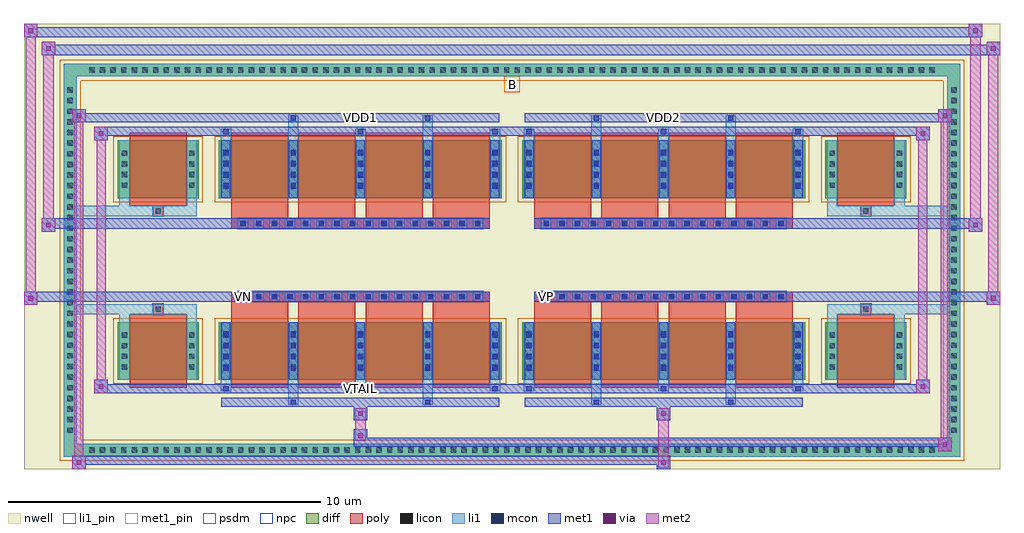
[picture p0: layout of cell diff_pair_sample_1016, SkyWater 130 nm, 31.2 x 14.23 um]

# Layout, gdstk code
import gdstk
lib = gdstk.Library(unit=1e-6, precision=5e-09)
def R(c, l, rs):  # rectangles x0, y0, x1, y1
    for r in rs: c.add(gdstk.rectangle(r[:2], r[2:], *l))
def A(c, l, x, y, w, h, nx, ny, dx, dy):  # array of equal rectangles
    R(c, l, [(x+i*dx, y+j*dy, x+i*dx+w, y+j*dy+h) for i in range(nx) for j in range(ny)])
def P(c, l, *ps):  # polygons
    for p in ps: c.add(gdstk.Polygon(p, *l))
nwell = (64, 20)
diff = (65, 20)
poly = (66, 20)
licon = (66, 44)
li1_pin = (67, 16)
li1 = (67, 20)
mcon = (67, 44)
met1_pin = (68, 16)
met1 = (68, 20)
via = (68, 44)
met2 = (69, 20)
psdm = (94, 20)
npc = (95, 20)

diff_pair_sample_1016 = lib.new_cell('diff_pair_sample_1016')
R(diff_pair_sample_1016, nwell, [(-15.6,-6.68,15.6,7.55), (-12.92,-4.87,-0.01,-0.805), (0.01,-4.87,12.92,-0.805), (-12.92,0.805,-0.01,4.87), (0.01,0.805,12.92,4.87)])
A(diff_pair_sample_1016, diff, -13.635, -6.28, 0.41, 0.41, 80, 2, 0.34, 12.15)
A(diff_pair_sample_1016, diff, -14.33, -5.645, 0.41, 0.41, 1, 33, 0, 0.34)
A(diff_pair_sample_1016, diff, 13.92, -5.645, 0.41, 0.41, 1, 33, 0, 0.34)
R(diff_pair_sample_1016, diff, [(-13.635,-6.28,13.635,-5.87), (-14.33,-5.645,-13.92,5.645), (13.92,-5.645,14.33,5.645), (-12.61,-3.825,-10.01,-1.985), (-9.37,-3.825,-0.32,-1.985), (0.32,-3.825,9.37,-1.985), (10.01,-3.825,12.61,-1.985), (-12.61,1.985,-10.01,3.825), (-9.37,1.985,-0.32,3.825), (0.32,1.985,9.37,3.825), (10.01,1.985,12.61,3.825), (-13.635,5.87,13.635,6.28)])
P(diff_pair_sample_1016, diff, [(14.33,6.28),(-14.33,6.28),(-14.33,-5.87),(-13.92,-5.87),(-13.92,5.87),(13.92,5.87),(13.92,-5.87),(-13.92,-5.87),(-14.33,-5.87),(-14.33,-6.28),(14.33,-6.28)])
A(diff_pair_sample_1016, poly, -8.98, -4.075, 1.82, 2.34, 4, 2, 2.15, 5.81)
A(diff_pair_sample_1016, poly, 0.71, -4.075, 1.82, 2.34, 4, 2, 2.15, 5.81)
A(diff_pair_sample_1016, poly, -8.98, -1.735, 1.82, 0.4, 4, 2, 2.15, 3.07)
A(diff_pair_sample_1016, poly, 0.71, -1.735, 1.82, 0.4, 4, 2, 2.15, 3.07)
A(diff_pair_sample_1016, poly, -8.76, -1.335, 0.33, 0.33, 16, 2, 0.5, 2.34)
A(diff_pair_sample_1016, poly, 0.93, -1.335, 0.33, 0.33, 16, 2, 0.5, 2.34)
R(diff_pair_sample_1016, poly, [(-12.22,-4.075,-10.4,-1.735), (10.4,-4.075,12.22,-1.735), (-11.475,-1.735,-11.145,-1.405), (-11.475,-1.735,-11.145,-1.405), (11.145,-1.735,11.475,-1.405), (11.145,-1.735,11.475,-1.405), (-8.98,-1.335,-0.71,-1.005), (0.71,-1.335,8.98,-1.005), (-8.98,1.005,-0.71,1.335), (0.71,1.005,8.98,1.335), (-11.475,1.405,-11.145,1.735), (-11.475,1.405,-11.145,1.735), (11.145,1.405,11.475,1.735), (11.145,1.405,11.475,1.735), (-12.22,1.735,-10.4,4.075), (10.4,1.735,12.22,4.075)])
A(diff_pair_sample_1016, licon, -13.515, -6.16, 0.17, 0.17, 80, 2, 0.34, 12.15)
A(diff_pair_sample_1016, licon, -14.21, -5.525, 0.17, 0.17, 1, 33, 0, 0.34)
A(diff_pair_sample_1016, licon, 14.04, -5.525, 0.17, 0.17, 1, 33, 0, 0.34)
A(diff_pair_sample_1016, licon, -12.47, -3.5, 0.17, 0.17, 1, 4, 0, 0.34)
A(diff_pair_sample_1016, licon, -10.32, -3.5, 0.17, 0.17, 1, 4, 0, 0.34)
A(diff_pair_sample_1016, licon, -9.23, -3.5, 0.17, 0.17, 5, 4, 2.15, 0.34)
A(diff_pair_sample_1016, licon, 0.46, -3.5, 0.17, 0.17, 5, 4, 2.15, 0.34)
A(diff_pair_sample_1016, licon, 10.15, -3.5, 0.17, 0.17, 1, 4, 0, 0.34)
A(diff_pair_sample_1016, licon, 12.3, -3.5, 0.17, 0.17, 1, 4, 0, 0.34)
A(diff_pair_sample_1016, licon, -8.68, -1.255, 0.17, 0.17, 16, 2, 0.5, 2.34)
A(diff_pair_sample_1016, licon, 1.01, -1.255, 0.17, 0.17, 16, 2, 0.5, 2.34)
A(diff_pair_sample_1016, licon, -12.47, 2.31, 0.17, 0.17, 1, 4, 0, 0.34)
A(diff_pair_sample_1016, licon, -10.32, 2.31, 0.17, 0.17, 1, 4, 0, 0.34)
A(diff_pair_sample_1016, licon, -9.23, 2.31, 0.17, 0.17, 5, 4, 2.15, 0.34)
A(diff_pair_sample_1016, licon, 0.46, 2.31, 0.17, 0.17, 5, 4, 2.15, 0.34)
A(diff_pair_sample_1016, licon, 10.15, 2.31, 0.17, 0.17, 1, 4, 0, 0.34)
A(diff_pair_sample_1016, licon, 12.3, 2.31, 0.17, 0.17, 1, 4, 0, 0.34)
R(diff_pair_sample_1016, licon, [(-11.395,-1.655,-11.225,-1.485), (11.225,-1.655,11.395,-1.485), (-11.395,1.485,-11.225,1.655), (11.225,1.485,11.395,1.655)])
R(diff_pair_sample_1016, li1_pin, [(-0.25,5.37,0.25,5.87)])
A(diff_pair_sample_1016, li1, -13.595, -6.24, 0.33, 0.33, 80, 2, 0.34, 12.15)
A(diff_pair_sample_1016, li1, -14.29, -5.605, 0.33, 0.33, 1, 33, 0, 0.34)
A(diff_pair_sample_1016, li1, 13.96, -5.605, 0.33, 0.33, 1, 33, 0, 0.34)
A(diff_pair_sample_1016, li1, -9.31, -4.2, 0.33, 0.375, 3, 2, 4.3, 8.025)
A(diff_pair_sample_1016, li1, -9.23, -4.2, 0.17, 0.17, 3, 2, 4.3, 8.23)
A(diff_pair_sample_1016, li1, 0.38, -4.2, 0.33, 0.375, 3, 2, 4.3, 8.025)
A(diff_pair_sample_1016, li1, 0.46, -4.2, 0.17, 0.17, 3, 2, 4.3, 8.23)
A(diff_pair_sample_1016, li1, -9.31, -3.825, 0.33, 1.84, 5, 2, 2.15, 5.81)
A(diff_pair_sample_1016, li1, 0.38, -3.825, 0.33, 1.84, 5, 2, 2.15, 5.81)
A(diff_pair_sample_1016, li1, -12.55, -3.58, 0.33, 0.33, 1, 4, 0, 0.34)
A(diff_pair_sample_1016, li1, -10.4, -3.58, 0.33, 0.33, 1, 4, 0, 0.34)
A(diff_pair_sample_1016, li1, -9.31, -3.58, 0.33, 0.33, 5, 4, 2.15, 0.34)
A(diff_pair_sample_1016, li1, 0.38, -3.58, 0.33, 0.33, 5, 4, 2.15, 0.34)
A(diff_pair_sample_1016, li1, 10.07, -3.58, 0.33, 0.33, 1, 4, 0, 0.34)
A(diff_pair_sample_1016, li1, 12.22, -3.58, 0.33, 0.33, 1, 4, 0, 0.34)
A(diff_pair_sample_1016, li1, -9.23, -3.53, 0.17, 0.17, 5, 4, 2.15, 0.36)
A(diff_pair_sample_1016, li1, -9.23, -3.53, 0.17, 1.25, 5, 2, 2.15, 5.81)
A(diff_pair_sample_1016, li1, 0.46, -3.53, 0.17, 0.17, 5, 4, 2.15, 0.36)
A(diff_pair_sample_1016, li1, 0.46, -3.53, 0.17, 1.25, 5, 2, 2.15, 5.81)
A(diff_pair_sample_1016, li1, -8.76, -1.335, 0.33, 0.33, 16, 2, 0.5, 2.34)
A(diff_pair_sample_1016, li1, 0.93, -1.335, 0.33, 0.33, 16, 2, 0.5, 2.34)
A(diff_pair_sample_1016, li1, -12.55, 2.23, 0.33, 0.33, 1, 4, 0, 0.34)
A(diff_pair_sample_1016, li1, -10.4, 2.23, 0.33, 0.33, 1, 4, 0, 0.34)
A(diff_pair_sample_1016, li1, -9.31, 2.23, 0.33, 0.33, 5, 4, 2.15, 0.34)
A(diff_pair_sample_1016, li1, 0.38, 2.23, 0.33, 0.33, 5, 4, 2.15, 0.34)
A(diff_pair_sample_1016, li1, 10.07, 2.23, 0.33, 0.33, 1, 4, 0, 0.34)
A(diff_pair_sample_1016, li1, 12.22, 2.23, 0.33, 0.33, 1, 4, 0, 0.34)
A(diff_pair_sample_1016, li1, -9.23, 2.28, 0.17, 0.17, 5, 4, 2.15, 0.36)
A(diff_pair_sample_1016, li1, 0.46, 2.28, 0.17, 0.17, 5, 4, 2.15, 0.36)
R(diff_pair_sample_1016, li1, [(-14.33,-6.28,-13.92,-5.87), (-14.33,-6.28,-13.92,-5.87), (-13.92,-6.28,13.92,-5.87), (13.92,-6.28,14.33,-5.87), (13.92,-6.28,14.33,-5.87), (-14.33,-5.87,-13.92,5.87), (13.92,-5.87,14.33,5.87), (-7.16,-4.63,-6.83,-3.825), (-7.08,-4.63,-6.91,-4.46), (-2.86,-4.63,-2.53,-3.825), (-2.78,-4.63,-2.61,-4.46), (2.53,-4.63,2.86,-3.825), (2.61,-4.63,2.78,-4.46), (6.83,-4.63,7.16,-3.825), (6.91,-4.63,7.08,-4.46), (-12.55,-3.825,-12.22,-1.985), (-10.4,-3.825,-10.07,-1.985), (10.07,-3.825,10.4,-1.985), (12.22,-3.825,12.55,-1.985), (-12.55,-1.985,-12.22,-1.405), (-10.4,-1.985,-10.07,-1.405), (10.07,-1.985,10.4,-1.405), (12.22,-1.985,12.55,-1.405), (-14.33,-1.735,-11.475,-1.405), (-12.55,-1.735,-11.475,-1.405), (-11.475,-1.735,-11.145,-1.405), (-11.145,-1.735,-10.07,-1.405), (10.07,-1.735,11.145,-1.405), (11.145,-1.735,11.475,-1.405), (11.145,-1.735,14.33,-1.405), (11.475,-1.735,12.55,-1.405), (-14.33,1.405,-11.475,1.735), (-12.55,1.405,-11.475,1.735), (-12.55,1.405,-12.22,1.985), (-11.475,1.405,-11.145,1.735), (-11.145,1.405,-10.07,1.735), (-10.4,1.405,-10.07,1.985), (10.07,1.405,11.145,1.735), (10.07,1.405,10.4,1.985), (11.145,1.405,11.475,1.735), (11.145,1.405,14.33,1.735), (11.475,1.405,12.55,1.735), (12.22,1.405,12.55,1.985), (-12.55,1.985,-12.22,3.825), (-10.4,1.985,-10.07,3.825), (10.07,1.985,10.4,3.825), (12.22,1.985,12.55,3.825), (-7.16,3.825,-6.83,4.63), (-2.86,3.825,-2.53,4.63), (2.53,3.825,2.86,4.63), (6.83,3.825,7.16,4.63), (-7.08,4.46,-6.91,4.63), (-2.78,4.46,-2.61,4.63), (2.61,4.46,2.78,4.63), (6.91,4.46,7.08,4.63), (-14.33,5.87,-13.92,6.28), (-14.33,5.87,-13.92,6.28), (-13.92,5.87,13.92,6.28), (13.92,5.87,14.33,6.28), (13.92,5.87,14.33,6.28)])
A(diff_pair_sample_1016, mcon, -9.23, -4.2, 0.17, 0.17, 3, 2, 4.3, 8.23)
A(diff_pair_sample_1016, mcon, 0.46, -4.2, 0.17, 0.17, 3, 2, 4.3, 8.23)
A(diff_pair_sample_1016, mcon, -9.23, -3.53, 0.17, 0.17, 5, 4, 2.15, 0.36)
A(diff_pair_sample_1016, mcon, 0.46, -3.53, 0.17, 0.17, 5, 4, 2.15, 0.36)
A(diff_pair_sample_1016, mcon, -8.68, -1.255, 0.17, 0.17, 16, 2, 0.5, 2.34)
A(diff_pair_sample_1016, mcon, 1.01, -1.255, 0.17, 0.17, 16, 2, 0.5, 2.34)
A(diff_pair_sample_1016, mcon, -9.23, 2.28, 0.17, 0.17, 5, 4, 2.15, 0.36)
A(diff_pair_sample_1016, mcon, 0.46, 2.28, 0.17, 0.17, 5, 4, 2.15, 0.36)
R(diff_pair_sample_1016, mcon, [(-7.08,-4.63,-6.91,-4.46), (-2.78,-4.63,-2.61,-4.46), (2.61,-4.63,2.78,-4.46), (6.91,-4.63,7.08,-4.46), (-7.08,4.46,-6.91,4.63), (-2.78,4.46,-2.61,4.63), (2.61,4.46,2.78,4.63), (6.91,4.46,7.08,4.63)])
R(diff_pair_sample_1016, met1_pin, [(-4.98,-4.24,-4.71,-3.97), (-8.73,-1.295,-8.46,-1.025), (0.96,-1.295,1.23,-1.025), (-4.98,4.42,-4.71,4.69), (4.71,4.42,4.98,4.69)])
A(diff_pair_sample_1016, met1, -9.29, -4.26, 0.29, 0.29, 3, 2, 4.3, 8.23)
A(diff_pair_sample_1016, met1, 0.4, -4.26, 0.29, 0.29, 3, 2, 4.3, 8.23)
A(diff_pair_sample_1016, met1, -9.29, -3.825, 0.29, 1.84, 5, 2, 2.15, 5.81)
A(diff_pair_sample_1016, met1, 0.4, -3.825, 0.29, 1.84, 5, 2, 2.15, 5.81)
A(diff_pair_sample_1016, met1, -9.29, -3.59, 0.29, 0.29, 5, 4, 2.15, 0.36)
A(diff_pair_sample_1016, met1, 0.4, -3.59, 0.29, 0.29, 5, 4, 2.15, 0.36)
A(diff_pair_sample_1016, met1, -8.74, -1.315, 0.29, 0.29, 16, 2, 0.5, 2.34)
A(diff_pair_sample_1016, met1, 0.95, -1.315, 0.29, 0.29, 16, 2, 0.5, 2.34)
A(diff_pair_sample_1016, met1, -9.29, 2.22, 0.29, 0.29, 5, 4, 2.15, 0.36)
A(diff_pair_sample_1016, met1, 0.4, 2.22, 0.29, 0.29, 5, 4, 2.15, 0.36)
R(diff_pair_sample_1016, met1, [(-14.06,-6.68,-13.63,-6.25), (4.63,-6.68,5.06,-6.25), (-14.06,-6.54,5.06,-6.25), (13.63,-6.11,14.06,-5.68), (-5.06,-5.97,14.06,-5.68), (-5.06,-5.83,-4.63,-5.4), (-5.06,-5.12,-4.63,-4.69), (4.63,-5.12,5.06,-4.69), (-9.29,-4.69,-0.4,-4.4), (-7.14,-4.69,-6.85,-4.4), (-2.84,-4.69,-2.55,-4.4), (0.4,-4.69,9.29,-4.4), (2.55,-4.69,2.84,-4.4), (6.85,-4.69,7.14,-4.4), (-13.35,-4.26,-12.92,-3.83), (-13.35,-4.26,-9.29,-3.97), (-9.29,-4.26,-0.4,-3.97), (-0.4,-4.26,0.4,-3.97), (0.4,-4.26,9.29,-3.97), (9.29,-4.26,13.35,-3.97), (12.92,-4.26,13.35,-3.83), (-15.6,-1.435,-15.17,-1.005), (15.17,-1.435,15.6,-1.005), (-15.6,-1.335,-0.71,-1.005), (-8.98,-1.335,-0.71,-1.005), (0.71,-1.335,8.98,-1.005), (0.71,-1.335,15.6,-1.005), (-15.03,0.905,-14.6,1.335), (14.6,0.905,15.03,1.335), (-15.03,1.005,-8.98,1.335), (-8.98,1.005,-0.71,1.335), (0.71,1.005,8.98,1.335), (8.98,1.005,15.03,1.335), (-13.35,3.83,-12.92,4.26), (12.92,3.83,13.35,4.26), (-13.35,3.97,-9.29,4.26), (-9.29,3.97,-0.4,4.26), (-0.4,3.97,0.4,4.26), (0.4,3.97,9.29,4.26), (9.29,3.97,13.35,4.26), (-14.06,4.4,-13.63,4.83), (-14.06,4.4,-9.29,4.69), (-9.29,4.4,-0.4,4.69), (-7.14,4.4,-6.85,4.69), (-2.84,4.4,-2.55,4.69), (0.4,4.4,9.29,4.69), (2.55,4.4,2.84,4.69), (6.85,4.4,7.14,4.69), (9.29,4.4,14.06,4.69), (13.63,4.4,14.06,4.83), (-15.03,6.55,-14.6,6.98), (-15.03,6.55,-12.92,6.88), (-12.92,6.55,12.92,6.88), (12.92,6.55,15.6,6.88), (15.17,6.55,15.6,6.98), (-15.6,7.12,-15.17,7.55), (-15.6,7.12,-12.92,7.45), (-12.92,7.12,12.92,7.45), (12.92,7.12,15.03,7.45), (14.6,7.12,15.03,7.55)])
R(diff_pair_sample_1016, via, [(-13.92,-6.54,-13.77,-6.39), (4.77,-6.54,4.92,-6.39), (13.77,-5.97,13.92,-5.82), (-4.92,-5.69,-4.77,-5.54), (-4.92,-4.98,-4.77,-4.83), (4.77,-4.98,4.92,-4.83), (-13.21,-4.12,-13.06,-3.97), (13.06,-4.12,13.21,-3.97), (-15.46,-1.295,-15.31,-1.145), (15.31,-1.295,15.46,-1.145), (-14.89,1.045,-14.74,1.195), (14.74,1.045,14.89,1.195), (-13.21,3.97,-13.06,4.12), (13.06,3.97,13.21,4.12), (-13.92,4.54,-13.77,4.69), (13.77,4.54,13.92,4.69), (-14.89,6.69,-14.74,6.84), (15.31,6.69,15.46,6.84), (-15.46,7.26,-15.31,7.41), (14.74,7.26,14.89,7.41)])
R(diff_pair_sample_1016, met2, [(-14.06,-6.68,-13.63,-6.25), (-13.99,-6.68,-13.7,4.83), (-13.7,-6.68,-13.63,-6.25), (-14.01,-6.63,-13.68,-6.3), (4.68,-6.63,5.01,-6.3), (4.68,-6.3,5.01,-5.07), (13.63,-6.11,14.06,-5.68), (13.7,-6.11,13.99,4.83), (13.99,-6.11,14.06,-5.68), (13.68,-6.06,14.01,-5.73), (-5.01,-5.78,-4.68,-5.45), (-5.01,-5.45,-4.68,-5.07), (-5.01,-5.07,-4.68,-4.74), (4.68,-5.07,5.01,-4.74), (-13.35,-4.26,-12.92,-3.83), (-13.28,-4.26,-12.99,4.26), (-12.99,-4.26,-12.92,-3.83), (12.92,-4.26,13.35,-3.83), (12.99,-4.26,13.28,4.26), (13.28,-4.26,13.35,-3.83), (-13.3,-4.21,-12.97,-3.88), (12.97,-4.21,13.3,-3.88), (-15.6,-1.435,-15.17,-1.005), (-15.55,-1.435,-15.22,7.55), (-15.22,-1.435,-15.17,-1.005), (15.17,-1.435,15.6,-1.005), (15.22,-1.435,15.55,6.98), (15.55,-1.435,15.6,-1.005), (-15.55,-1.385,-15.22,-1.055), (15.22,-1.385,15.55,-1.055), (-15.03,0.905,-14.6,1.335), (-14.98,0.905,-14.65,6.98), (-14.65,0.905,-14.6,1.335), (14.6,0.905,15.03,1.335), (14.65,0.905,14.98,7.55), (14.98,0.905,15.03,1.335), (-14.98,0.955,-14.65,1.285), (14.65,0.955,14.98,1.285), (-13.35,3.83,-12.92,4.26), (-12.99,3.83,-12.92,4.26), (12.92,3.83,13.35,4.26), (13.28,3.83,13.35,4.26), (-13.3,3.88,-12.97,4.21), (12.97,3.88,13.3,4.21), (-14.06,4.4,-13.63,4.83), (-13.7,4.4,-13.63,4.83), (13.63,4.4,14.06,4.83), (13.99,4.4,14.06,4.83), (-14.01,4.45,-13.68,4.78), (13.68,4.45,14.01,4.78), (-15.03,6.55,-14.6,6.98), (-14.65,6.55,-14.6,6.98), (15.17,6.55,15.6,6.98), (15.55,6.55,15.6,6.98), (-14.98,6.6,-14.65,6.93), (15.22,6.6,15.55,6.93), (-15.6,7.12,-15.17,7.55), (-15.22,7.12,-15.17,7.55), (14.6,7.12,15.03,7.55), (14.98,7.12,15.03,7.55), (-15.55,7.17,-15.22,7.5), (14.65,7.17,14.98,7.5)])
R(diff_pair_sample_1016, psdm, [(-12.74,-3.955,-9.88,-1.855), (-9.5,-3.955,-0.19,-1.855), (0.19,-3.955,9.5,-1.855), (9.88,-3.955,12.74,-1.855), (-12.74,1.855,-9.88,3.955), (-9.5,1.855,-0.19,3.955), (0.19,1.855,9.5,3.955), (9.88,1.855,12.74,3.955)])
P(diff_pair_sample_1016, psdm, [(14.46,6.41),(-14.46,6.41),(-14.46,-5.74),(-13.79,-5.74),(-13.79,5.74),(13.79,5.74),(13.79,-5.74),(-13.79,-5.74),(-14.46,-5.74),(-14.46,-6.41),(14.46,-6.41)])
A(diff_pair_sample_1016, npc, -8.78, -1.355, 0.37, 0.37, 16, 2, 0.5, 2.34)
A(diff_pair_sample_1016, npc, 0.91, -1.355, 0.37, 0.37, 16, 2, 0.5, 2.34)
R(diff_pair_sample_1016, npc, [(-11.495,-1.755,-11.125,-1.385), (11.125,-1.755,11.495,-1.385), (-8.78,-1.355,-7.91,-0.985), (-8.78,-1.355,-7.91,-0.985), (-8.28,-1.355,-7.41,-0.985), (-8.28,-1.355,-7.41,-0.985), (-7.78,-1.355,-6.91,-0.985), (-7.78,-1.355,-6.91,-0.985), (-7.28,-1.355,-6.41,-0.985), (-7.28,-1.355,-6.41,-0.985), (-6.78,-1.355,-5.91,-0.985), (-6.78,-1.355,-5.91,-0.985), (-6.28,-1.355,-5.41,-0.985), (-6.28,-1.355,-5.41,-0.985), (-5.78,-1.355,-4.91,-0.985), (-5.78,-1.355,-4.91,-0.985), (-5.28,-1.355,-4.41,-0.985), (-5.28,-1.355,-4.41,-0.985), (-4.78,-1.355,-3.91,-0.985), (-4.78,-1.355,-3.91,-0.985), (-4.28,-1.355,-3.41,-0.985), (-4.28,-1.355,-3.41,-0.985), (-3.78,-1.355,-2.91,-0.985), (-3.78,-1.355,-2.91,-0.985), (-3.28,-1.355,-2.41,-0.985), (-3.28,-1.355,-2.41,-0.985), (-2.78,-1.355,-1.91,-0.985), (-2.78,-1.355,-1.91,-0.985), (-2.28,-1.355,-1.41,-0.985), (-2.28,-1.355,-1.41,-0.985), (-1.78,-1.355,-0.91,-0.985), (-1.78,-1.355,-0.91,-0.985), (0.91,-1.355,1.78,-0.985), (0.91,-1.355,1.78,-0.985), (1.41,-1.355,2.28,-0.985), (1.41,-1.355,2.28,-0.985), (1.91,-1.355,2.78,-0.985), (1.91,-1.355,2.78,-0.985), (2.41,-1.355,3.28,-0.985), (2.41,-1.355,3.28,-0.985), (2.91,-1.355,3.78,-0.985), (2.91,-1.355,3.78,-0.985), (3.41,-1.355,4.28,-0.985), (3.41,-1.355,4.28,-0.985), (3.91,-1.355,4.78,-0.985), (3.91,-1.355,4.78,-0.985), (4.41,-1.355,5.28,-0.985), (4.41,-1.355,5.28,-0.985), (4.91,-1.355,5.78,-0.985), (4.91,-1.355,5.78,-0.985), (5.41,-1.355,6.28,-0.985), (5.41,-1.355,6.28,-0.985), (5.91,-1.355,6.78,-0.985), (5.91,-1.355,6.78,-0.985), (6.41,-1.355,7.28,-0.985), (6.41,-1.355,7.28,-0.985), (6.91,-1.355,7.78,-0.985), (6.91,-1.355,7.78,-0.985), (7.41,-1.355,8.28,-0.985), (7.41,-1.355,8.28,-0.985), (7.91,-1.355,8.78,-0.985), (7.91,-1.355,8.78,-0.985), (-8.78,0.985,-7.91,1.355), (-8.78,0.985,-7.91,1.355), (-8.28,0.985,-7.41,1.355), (-8.28,0.985,-7.41,1.355), (-7.78,0.985,-6.91,1.355), (-7.78,0.985,-6.91,1.355), (-7.28,0.985,-6.41,1.355), (-7.28,0.985,-6.41,1.355), (-6.78,0.985,-5.91,1.355), (-6.78,0.985,-5.91,1.355), (-6.28,0.985,-5.41,1.355), (-6.28,0.985,-5.41,1.355), (-5.78,0.985,-4.91,1.355), (-5.78,0.985,-4.91,1.355), (-5.28,0.985,-4.41,1.355), (-5.28,0.985,-4.41,1.355), (-4.78,0.985,-3.91,1.355), (-4.78,0.985,-3.91,1.355), (-4.28,0.985,-3.41,1.355), (-4.28,0.985,-3.41,1.355), (-3.78,0.985,-2.91,1.355), (-3.78,0.985,-2.91,1.355), (-3.28,0.985,-2.41,1.355), (-3.28,0.985,-2.41,1.355), (-2.78,0.985,-1.91,1.355), (-2.78,0.985,-1.91,1.355), (-2.28,0.985,-1.41,1.355), (-2.28,0.985,-1.41,1.355), (-1.78,0.985,-0.91,1.355), (-1.78,0.985,-0.91,1.355), (0.91,0.985,1.78,1.355), (0.91,0.985,1.78,1.355), (1.41,0.985,2.28,1.355), (1.41,0.985,2.28,1.355), (1.91,0.985,2.78,1.355), (1.91,0.985,2.78,1.355), (2.41,0.985,3.28,1.355), (2.41,0.985,3.28,1.355), (2.91,0.985,3.78,1.355), (2.91,0.985,3.78,1.355), (3.41,0.985,4.28,1.355), (3.41,0.985,4.28,1.355), (3.91,0.985,4.78,1.355), (3.91,0.985,4.78,1.355), (4.41,0.985,5.28,1.355), (4.41,0.985,5.28,1.355), (4.91,0.985,5.78,1.355), (4.91,0.985,5.78,1.355), (5.41,0.985,6.28,1.355), (5.41,0.985,6.28,1.355), (5.91,0.985,6.78,1.355), (5.91,0.985,6.78,1.355), (6.41,0.985,7.28,1.355), (6.41,0.985,7.28,1.355), (6.91,0.985,7.78,1.355), (6.91,0.985,7.78,1.355), (7.41,0.985,8.28,1.355), (7.41,0.985,8.28,1.355), (7.91,0.985,8.78,1.355), (7.91,0.985,8.78,1.355), (-11.495,1.385,-11.125,1.755), (11.125,1.385,11.495,1.755)])
diff_pair_sample_1016.add(gdstk.Label('VTAIL', (-4.845,-4.105), layer=68, texttype=5))
diff_pair_sample_1016.add(gdstk.Label('VN', (-8.595,-1.16), layer=68, texttype=5))
diff_pair_sample_1016.add(gdstk.Label('VP', (1.095,-1.16), layer=68, texttype=5))
diff_pair_sample_1016.add(gdstk.Label('B', (0,5.62), layer=67, texttype=5))
diff_pair_sample_1016.add(gdstk.Label('VDD2', (4.845,4.555), layer=68, texttype=5))
diff_pair_sample_1016.add(gdstk.Label('VDD1', (-4.845,4.555), layer=68, texttype=5))

lib.write_gds('diff_pair_sample_1016.gds')
